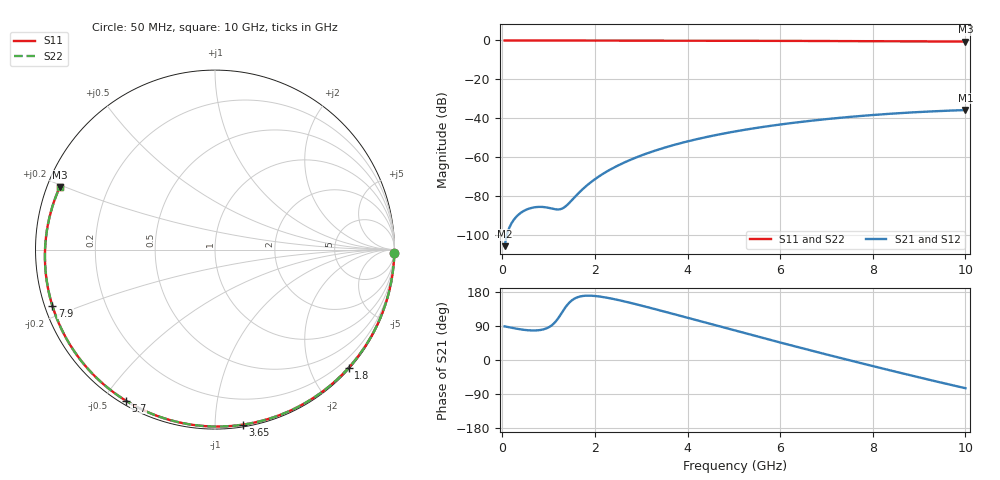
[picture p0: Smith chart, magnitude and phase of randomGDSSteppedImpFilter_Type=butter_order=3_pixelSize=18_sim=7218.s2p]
! freq	dB(S11)	phase(S11)	dB(S12)	phase(S12)
!  dB(S21)	phase(S21)	dB(S22)	phase(S22)
!S-par simulation data
#  GHz  S  DB  R 50
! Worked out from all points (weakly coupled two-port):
!   200 points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, 50 MHz to 10 GHz, reference 50 ohm
!   highest |S21| = -35.82 dB at 10 GHz (marker M1); lowest = -105.9 dB at 50 MHz (marker M2)
!   lowest |S11| = -0.6 dB at 10 GHz (marker M3), VSWR 28.61, Z = 1.81 + j9.66 ohm
!   |S11| at or under -10 dB: nowhere
!   |S22| runs from -0.6 to 0.0 dB; largest |S21 - S12| = 0
!   S11 on the Smith chart (normalised r, x): 50 MHz: open; 1.8 GHz: 0.02, -2.64; 3.65 GHz: 0.01, -1.17; 5.7 GHz: 0.02, -0.57; 7.9 GHz: 0.02, -0.17; 10 GHz: 0.04, +0.19
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0.05  -0.00 -1.1  -105.85 88.7  -105.85 88.7  -0.00 -1.1
0.45  -0.02 -10.5  -87.91 79.9  -87.91 79.9  -0.02 -10.5
0.8  -0.02 -18.7  -85.63 78.8  -85.63 78.8  -0.02 -18.7
1.55  -0.05 -35.8  -80.96 161.3  -80.96 161.3  -0.05 -35.8
1.6  -0.05 -37.0  -79.70 164.4  -79.70 164.4  -0.05 -37.0
1.75  -0.05 -40.3  -76.21 169.1  -76.21 169.1  -0.05 -40.3
1.8  -0.05 -41.4  -75.15 169.7  -75.15 169.7  -0.05 -41.4
2.1  -0.06 -48.1  -69.76 167.5  -69.76 167.5  -0.06 -48.1
2.45  -0.07 -55.7  -64.93 159.7  -64.93 159.7  -0.07 -55.7
2.9  -0.08 -65.4  -60.11 146.8  -60.11 146.8  -0.08 -65.4
3.4  -0.10 -75.8  -55.92 131.0  -55.92 131.0  -0.10 -75.8
3.65  -0.11 -80.9  -54.15 122.9  -54.15 122.9  -0.11 -80.9
4.35  -0.13 -94.9  -49.99 99.9  -49.99 99.9  -0.13 -94.9
5.05  -0.16 -108.4  -46.72 76.9  -46.72 76.9  -0.16 -108.4
5.7  -0.20 -120.6  -44.25 55.8  -44.25 55.8  -0.20 -120.7
6.7  -0.27 -139.0  -41.23 24.0  -41.23 24.0  -0.27 -139.0
7.3  -0.31 -150.0  -39.78 5.4  -39.78 5.4  -0.31 -150.0
7.9  -0.37 -161.0  -38.55 -13.0  -38.55 -13.0  -0.37 -161.0
8.35  -0.41 -169.4  -37.76 -26.6  -37.76 -26.6  -0.41 -169.4
8.8  -0.46 -178.0  -37.09 -40.0  -37.09 -40.0  -0.46 -178.0
9.2  -0.51 174.3  -36.58 -51.7  -36.58 -51.7  -0.51 174.3
10  -0.61 158.1  -35.82 -74.4  -35.82 -74.4  -0.61 158.1
